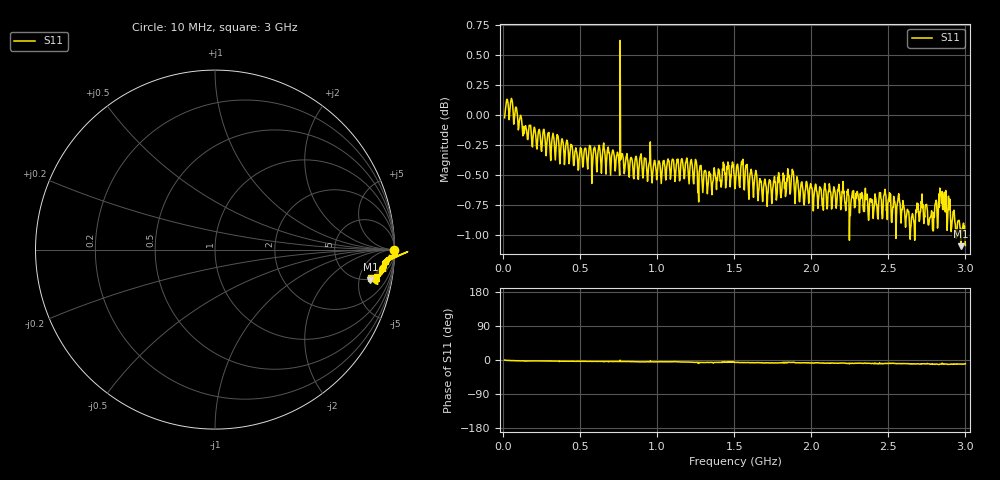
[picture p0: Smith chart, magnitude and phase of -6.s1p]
# HZ S RI R 50
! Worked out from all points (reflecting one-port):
!   1010 points, 10 MHz to 3 GHz, reference 50 ohm
!   lowest |S11| = -1.1 dB at 2.97 GHz (marker M1), VSWR 15.92, Z = 242 - j364 ohm
!   phase of S11 starts at -0 deg and turns -10 deg over the sweep
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1e7  0.9972 -0.00334
4.555996e7  1.006 -0.0244
1.403865e8  0.9853 -0.049
3.863429e8  0.9739 -0.0565
7.419425e8  0.9626 -0.0659
7.449058e8  0.9613 -0.0673
7.597225e8  1.074 -0.0116
7.745391e8  0.9612 -0.0666
7.775025e8  0.9586 -0.0661
9.019623e8  0.9474 -0.0808
9.464123e8  0.9503 -0.0787
1.133102e9  0.953 -0.0797
1.278305e9  0.9466 -0.1054
1.479812e9  0.9374 -0.0983
1.506482e9  0.928 -0.1023
1.764291e9  0.9288 -0.125
1.879861e9  0.9405 -0.1078
1.912458e9  0.9317 -0.1188
2.253241e9  0.8981 -0.1335
2.493271e9  0.8931 -0.144
2.62662e9  0.8993 -0.1522
2.7333e9  0.8957 -0.1518
2.77775e9  0.892 -0.1722
2.816274e9  0.8913 -0.1679
2.84887e9  0.9197 -0.1324
2.90221e9  0.8938 -0.1791
2.970367e9  0.8658 -0.1671
3e9  0.8686 -0.1559
